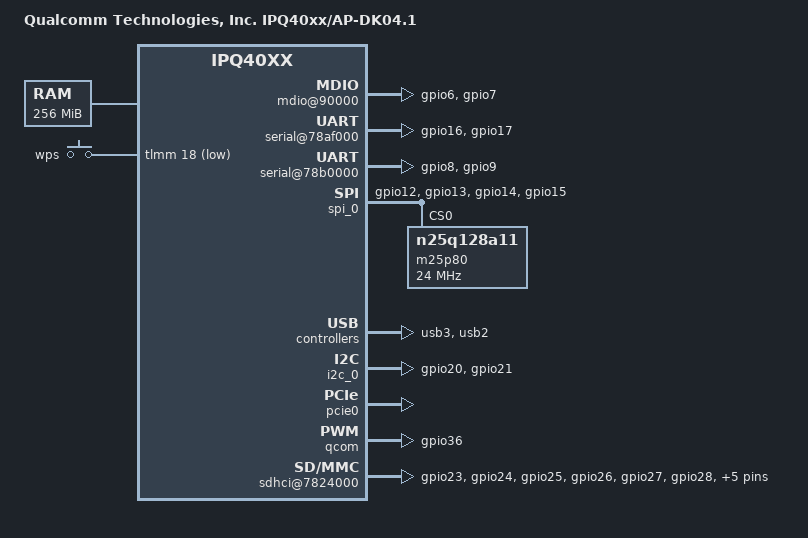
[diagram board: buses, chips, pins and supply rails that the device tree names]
/* Copyright (c) 2015, The Linux Foundation. All rights reserved.
 *
 * Permission to use, copy, modify, and/or distribute this software for any
 * purpose with or without fee is hereby granted, provided that the above
 * copyright notice and this permission notice appear in all copies.
 *
 * THE SOFTWARE IS PROVIDED "AS IS" AND THE AUTHOR DISCLAIMS ALL WARRANTIES
 * WITH REGARD TO THIS SOFTWARE INCLUDING ALL IMPLIED WARRANTIES OF
 * MERCHANTABILITY AND FITNESS. IN NO EVENT SHALL THE AUTHOR BE LIABLE FOR
 * ANY SPECIAL, DIRECT, INDIRECT, OR CONSEQUENTIAL DAMAGES OR ANY DAMAGES
 * WHATSOEVER RESULTING FROM LOSS OF USE, DATA OR PROFITS, WHETHER IN AN
 * ACTION OF CONTRACT, NEGLIGENCE OR OTHER TORTIOUS ACTION, ARISING OUT OF
 * OR IN CONNECTION WITH THE USE OR PERFORMANCE OF THIS SOFTWARE.
 *
 */

#include "qcom-ipq40xx.dtsi"
#include "qcom-ipq40xx-hsuart.dtsi"
#include <dt-bindings/input/input.h>
#include <dt-bindings/gpio/gpio.h>

/ {
	model = "Qualcomm Technologies, Inc. IPQ40xx/AP-DK04.1";
	compatible = "qcom,ipq40xx-apdk04.1", "qcom,ipq40xx";

	memory {
		device_type = "memory";
		reg = <0x80000000 0x10000000>; /* 256MB */
	};

	reserved-memory {
		#address-cells = <1>;
		#size-cells = <1>;
		ranges;
		rsvd1@87E00000 {
			/* Reserved for other subsystem */
			reg = <0x87E00000 0x200000>;
			no-map;
		};
	};

	chosen {
		bootargs-append = " clk_ignore_unused";
	};

};
	&soc {
		pinctrl@0x01000000 {
			serial_0_pins: serial0_pinmux {
				mux {
					pins = "gpio16", "gpio17";
					function = "blsp_uart0";
					bias-disable;
				};
			};

			led_0_pins: led0_pinmux {
				mux_1 {
					pins = "gpio36";
					function = "led0";
					bias-pull-down;
				};
				/*
				mux_2 {
					pins = "gpio40";
					function = "led4";
					bias-pull-down;
				};
				*/
			};

			serial_1_pins: serial1_pinmux {
				mux {
					pins = "gpio8", "gpio9";
					function = "blsp_uart1";
					bias-disable;
				};
			};

			uart1_pins: uart1_pinmux {
				mux {
					pins = "gpio8", "gpio9", "gpio10", "gpio11";
					function = "blsp_uart1";
					bias-disable;
				};
			};

			spi_0_pins: spi_0_pinmux {
				mux {
					pins = "gpio12", "gpio13", "gpio14", "gpio15";
					function = "blsp_spi0";
					bias-disable;
				};
			};

			i2c_0_pins: i2c_0_pinmux {
				mux {
					pins = "gpio20", "gpio21";
					function = "blsp_i2c0";
					bias-disable;
				};
			};
			sd_0_pins: sd_0_pinmux {
				sd0 {
					pins = "gpio23";
					function = "sdio0";
					pull-res = <RES_35_KOHM>;
					drive-type = <DRV_TYPE_C>;
					vm-enable;
				};
				sd1 {
					pins = "gpio24";
					function = "sdio1";
					pull-res = <RES_35_KOHM>;
					drive-type = <DRV_TYPE_C>;
					vm-enable;
				};
				sd2 {
					pins = "gpio25";
					function = "sdio2";
					pull-res = <RES_35_KOHM>;
					drive-type = <DRV_TYPE_C>;
					vm-enable;
				};
				sd3 {
					pins = "gpio26";
					function = "sdio3";
					pull-res = <RES_35_KOHM>;
					drive-type = <DRV_TYPE_C>;
					vm-enable;
				};
				sdclk {
					pins = "gpio27";
					function = "sdio_clk";
					pull-res = <RES_35_KOHM>;
					drive-type = <DRV_TYPE_A>;
					vm-enable;
				};
				sdcmd {
					pins = "gpio28";
					function = "sdio_cmd";
					pull-res = <RES_35_KOHM>;
					drive-type = <DRV_TYPE_C>;
					vm-enable;
				};
				sd4 {
					pins = "gpio29";
					function = "sdio4";
					pull-res = <RES_35_KOHM>;
					drive-type = <DRV_TYPE_C>;
					vm-enable;
				};
				sd5 {
					pins = "gpio30";
					function = "sdio5";
					pull-res = <RES_35_KOHM>;
					drive-type = <DRV_TYPE_C>;
					vm-enable;
				};
				sd6 {
					pins = "gpio31";
					function = "sdio6";
					pull-res = <RES_35_KOHM>;
					drive-type = <DRV_TYPE_C>;
					vm-enable;
				};
				sd7 {
					pins = "gpio32";
					function = "sdio7";
					pull-res = <RES_35_KOHM>;
					drive-type = <DRV_TYPE_C>;
					vm-enable;
				};
			};
			ts_0_pins: ts_0_pinmux {
				mux_1 {
					pins = "gpio34";
					output-high;
				};
				mux_2 {
					pins= "gpio35";
					input-enable;
					bias-pull-up;
				};
			};
			mdio_pins: mdio_pinmux {
				mux_1 {
					pins = "gpio6";
					function = "mdio0";
					bias-pull-up;
				};
				mux_2 {
					pins = "gpio7";
					function = "mdc";
					bias-pull-up;
				};
			};
		};

		mdio@90000 {
			status = "ok";
			pinctrl-0 = <&mdio_pins>;
			pinctrl-names = "default";
			phy-reset-gpio = <&tlmm 47 0>;
			status = "ok";
			bias-disable;
		};

		serial@78af000 {
			pinctrl-0 = <&serial_0_pins>;
			pinctrl-names = "default";
			status = "ok";
		};

		serial@78b0000 {
			pinctrl-0 = <&serial_1_pins>;
			pinctrl-names = "default";
			status = "ok";
		};

		uart1:uart@78b0000 {
			pinctrl-0 = <&uart1_pins>;
			pinctrl-1 = <&uart1_pins>;
			pinctrl-names = "default", "sleep";
			status = "disabled";
		};

		spi_0: spi@78b5000 { /* BLSP1 QUP1 */
			pinctrl-0 = <&spi_0_pins>;
			pinctrl-names = "default";
			status = "ok";

			m25p80@0 {
				#address-cells = <1>;
				#size-cells = <1>;
				reg = <0>;
				compatible = "n25q128a11";
				linux,modalias = "m25p80", "n25q128a11";
				spi-max-frequency = <24000000>;
				use-default-sizes;
			};
		};

		tcsr: tcsr@194b000 {
			status = "ok";
		};

		usb3_ss_phy: ssphy@0 {
			status = "ok";
		};

		dummy_ss_phy: ssphy@1 {
			status = "ok";
		};

		usb3_hs_phy: hsphy@a6000 {
			status = "ok";
		};

		usb2_hs_phy: hsphy@a8000 {
			status = "ok";
		};

		usb3: usb3@8a00000 {
			status = "ok";
		};

		usb2: usb2@6000000 {
			status = "ok";
		};

		i2c_0: i2c@78b7000 { /* BLSP1 QUP2 */
			pinctrl-0 = <&i2c_0_pins>;
			pinctrl-1 = <&i2c_0_pins>;
			pinctrl-names = "i2c_active", "i2c_sleep";
			status = "ok";

			qca_codec: qca_codec@12 {
				compatible = "qca,ipq40xx-codec";
				reg = <0x12>;
				status = "disabled";
			};

			lcd_ts: lcd_ts@40 {
				compatible = "qca,gsl1680_ts";
				reg = <0x40>;
				status = "disabled";
			};
		};

		qcom_crypto: qcrypto@8e20000 {
			status = "ok";
		};

		qcom_cedev: qcedev@8e20000 {
			status = "ok";
		};

		pcie0: qcom,pcie@80000 {
			status = "ok";
			perst-gpio = <&tlmm 38 0>;
			wake-gpio = <&tlmm 40 0>;
			clkreq-gpio = <&tlmm 39 0>;

			pcie@0 {
				reg = <0 0 0 0 0>;
				#interrupt-cells = <1>;
				#size-cells = <2>;
				#address-cells = <3>;
				device_type = "pci";

				ath10k@0,0 {
					reg = <0 0 0 0 0>;
					device_type = "pci";
					qcom,mtd-name = "0:ART";
					qcom,cal-offset = <0x9000>;
					qcom,cal-len = <12064>;
				};
			};
		};

		qcom: ledc@1937000  {
			status = "ok";
			pinctrl-0 = <&led_0_pins>;
			pinctrl-names = "default";
		};

		ess-switch@c000000 {
			switch_mac_mode = <0x0>; /* mac mode for RGMII RMII */
			switch_initvlas = <
				0x0007c 0x54 /* PORT0_STATUS */
			>;
			led_source@0 {
				led = <0x3>;     /*led number */
				source = <0x1>;  /*source id 1 */
				mode = "normal"; /*on,off,blink,normal */
				speed = "all";   /*10M,100M,1000M,all */
				freq = "auto";   /*2Hz,4Hz,8Hz,auto*/
			};
			led_source@1 {
				led = <0x4>;     /*led number */
				source = <0x4>;  /*source id 4 */
				mode = "normal"; /*on,off,blink,normal */
				speed = "all";   /*10M,100M,1000M,all */
				freq = "auto";   /*2Hz,4Hz,8Hz,auto*/
			};
			led_source@2 {
				led = <0x5>;     /*led number */
				source = <0x7>;  /*source id 7 */
				mode = "normal"; /*on,off,blink,normal */
				speed = "all";   /*10M,100M,1000M,all */
				freq = "auto";   /*2Hz,4Hz,8Hz,auto*/
			};
			led_source@3 {
				led = <0x6>;     /*led number */
				source = <0xa>;  /*source id 10 */
				mode = "normal"; /*on,off,blink,normal */
				speed = "all";   /*10M,100M,1000M,all */
				freq = "auto";   /*2Hz,4Hz,8Hz,auto*/
			};
			led_source@4 {
				led = <0x7>;     /*led number */
				source = <0xd>;  /*source id 13 */
				mode = "normal"; /*on,off,blink,normal */
				speed = "all";   /*10M,100M,1000M,all */
				freq = "auto";   /*2Hz,4Hz,8Hz,auto*/
			};
		};

		vccq_sd0: regulator@0 {
			compatible = "qcom,regulator-ipq40xx";
			regulator-name = "SD0 VccQ";
			regulator-min-microvolt = <1800000>;
			regulator-max-microvolt = <3000000>;
			states = <3000000 0x3
				1800000 0x1>;
			reg = <0x01948000 0x4>;
			mask = <0x3>;
		};

		sdhci@7824000 {
			status = "ok";
			pinctrl-0 = <&sd_0_pins>;
			pinctrl-names = "default";
			vqmmc-supply = <&vccq_sd0>;
			cd-gpios = <&tlmm 22 0x1>;
			sd-ldo-gpios = <&tlmm 33 0x1>;
		};

		qcom,nand@7980000 {
			status = "disabled";
		};

		gpio_keys {
			compatible = "gpio-keys";

			button@1 {
				label = "wps";
				linux,code = <KEY_WPS_BUTTON>;
				gpios = <&tlmm 18 GPIO_ACTIVE_LOW>;
				linux,input-type = <1>;
			};
		};

		wifi0: wifi@a000000 {
			wifi_led_num = <2>;         /* Wifi 2G */
			wifi_led_source = <0>;      /* source id 0 */
			qcom,mtd-name = "0:ART";
			qcom,cal-offset = <0x1000>;
			qcom,cal-len = <12064>;
		};

		wifi1: wifi@a800000 {
			wifi_led_num = <1>;         /* Wifi 5G */
			wifi_led_source = <2>;      /* source id 2 */
			qcom,mtd-name = "0:ART";
			qcom,cal-offset = <0x5000>;
			qcom,cal-len = <12064>;
		};
	};
